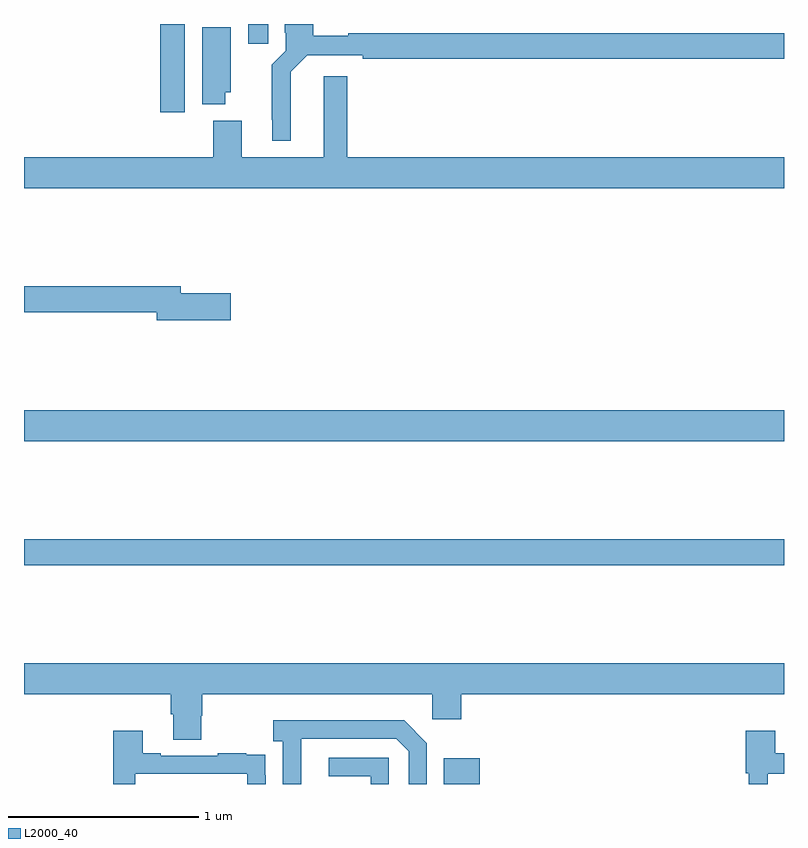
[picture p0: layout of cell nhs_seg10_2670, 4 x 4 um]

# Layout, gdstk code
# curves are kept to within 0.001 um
import gdstk
lib = gdstk.Library(unit=1e-6, precision=1e-09)
def R(c, l, rs):  # rectangles x0, y0, x1, y1
    for r in rs: c.add(gdstk.rectangle(r[:2], r[2:], *l))
def P(c, l, *ps):  # polygons
    for p in ps: c.add(gdstk.Polygon(p, *l))
L2000_40 = (2000, 40)

nhs_seg10_2670 = lib.new_cell('nhs_seg10_2670')
R(nhs_seg10_2670, L2000_40, [(257.21,1310.5,257.398,1310.635), (255,1311.652,259,1311.788), (255,1312.304,259,1312.468), (255.716,1314.036,255.847,1314.5), (256.181,1314.396,256.285,1314.5)])
P(nhs_seg10_2670, L2000_40, [(256.405,1314.146),(256.404,1314.248),(256.492,1314.336),(256.783,1314.336),(256.783,1314.316),(259,1314.316),(259,1314.452),(256.706,1314.452),(256.706,1314.437),(256.523,1314.437),(256.523,1314.5),(256.373,1314.5),(256.373,1314.454),(256.377,1314.454),(256.377,1314.36),(256.303,1314.286),(256.303,1313.995),(256.307,1313.995),(256.307,1313.885),(256.405,1313.885)],
  [(256.06,1314.141),(256.087,1314.141),(256.087,1314.482),(255.938,1314.482),(255.938,1314.077),(256.06,1314.077)],
  [(259,1313.8),(256.7,1313.8),(256.7,1314.226),(256.577,1314.226),(256.577,1313.8),(256.147,1313.8),(256.147,1313.992),(255.995,1313.992),(255.995,1313.8),(255,1313.8),(255,1313.636),(259,1313.636)],
  [(256.087,1313.084),(255.826,1313.084),(255.826,1313.12),(255,1313.12),(255,1312.984),(255.698,1312.984),(255.698,1312.942),(256.087,1312.942)],
  [(255.933,1310.859),(255.938,1310.859),(255.938,1310.972),(257.148,1310.972),(257.148,1310.841),(257.3,1310.841),(257.3,1310.972),(259,1310.972),(259,1311.136),(255,1311.136),(255,1310.972),(255.773,1310.972),(255.773,1310.866),(255.785,1310.866),(255.785,1310.734),(255.933,1310.734)],
  [(256.458,1310.539),(256.459,1310.739),(256.959,1310.739),(257.025,1310.673),(257.025,1310.5),(257.121,1310.5),(257.121,1310.715),(257,1310.836),(256.311,1310.836),(256.311,1310.726),(256.362,1310.726),(256.362,1310.5),(256.458,1310.5)],
  [(258.915,1310.553),(259,1310.553),(259,1310.662),(258.955,1310.662),(258.955,1310.779),(258.799,1310.779),(258.799,1310.556),(258.814,1310.556),(258.814,1310.5),(258.915,1310.5)],
  [(255.585,1310.553),(256.176,1310.553),(256.176,1310.5),(256.272,1310.5),(256.272,1310.546),(256.271,1310.546),(256.271,1310.655),(256.169,1310.655),(256.169,1310.662),(256.021,1310.662),(256.021,1310.649),(255.721,1310.649),(255.721,1310.662),(255.625,1310.662),(255.625,1310.779),(255.469,1310.779),(255.469,1310.5),(255.585,1310.5)],
  [(256.92,1310.637),(256.605,1310.637),(256.605,1310.541),(256.824,1310.541),(256.824,1310.5),(256.92,1310.5)])

lib.write_gds('nhs_seg10_2670.gds')
